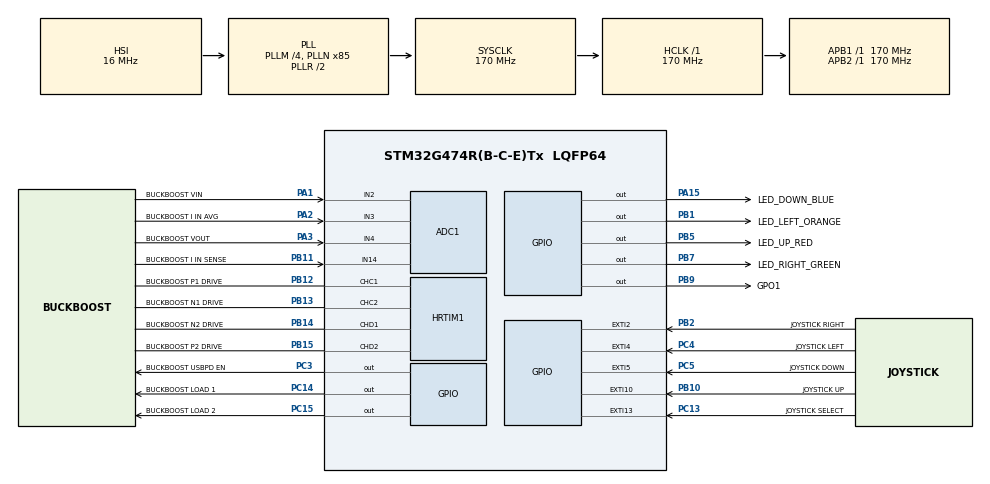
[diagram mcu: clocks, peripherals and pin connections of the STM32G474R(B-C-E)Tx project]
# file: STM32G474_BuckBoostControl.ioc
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ADC1.Channel-0\#ChannelRegularConversion=ADC_CHANNEL_4
ADC1.DMAContinuousRequests=ENABLE
ADC1.DataAlign=ADC_DATAALIGN_LEFT
ADC1.ExternalTrigConv=ADC_EXTERNALTRIG_HRTIM_TRG1
ADC1.NbrOfConversionFlag=1
ADC1.Offset-0\#ChannelRegularConversion=REF
ADC1.OffsetNumber-0\#ChannelRegularConversion=ADC_OFFSET_1
ADC1.Overrun=ADC_OVR_DATA_OVERWRITTEN
ADC1.Rank-0\#ChannelRegularConversion=1
ADC1.SamplingTime-0\#ChannelRegularConversion=ADC_SAMPLETIME_2CYCLES_5
ADC1.master=1
Dma.ADC1.0.Direction=DMA_PERIPH_TO_MEMORY
Dma.ADC1.0.EventEnable=DISABLE
Dma.ADC1.0.Instance=DMA1_Channel1
Dma.ADC1.0.MemDataAlignment=DMA_MDATAALIGN_WORD
Dma.ADC1.0.MemInc=DMA_MINC_DISABLE
Dma.ADC1.0.Mode=DMA_CIRCULAR
Dma.ADC1.0.PeriphDataAlignment=DMA_PDATAALIGN_WORD
Dma.ADC1.0.PeriphInc=DMA_PINC_DISABLE
Dma.ADC1.0.Polarity=HAL_DMAMUX_REQ_GEN_RISING
Dma.ADC1.0.Priority=DMA_PRIORITY_LOW
Dma.ADC1.0.RequestNumber=1
Dma.ADC1.0.SignalID=HAL_DMAMUX1_REQ_GEN_EXTI2
Dma.ADC1.0.SyncEnable=DISABLE
Dma.ADC1.0.SyncPolarity=HAL_DMAMUX_SYNC_NO_EVENT
Dma.ADC1.0.SyncRequestNumber=1
Dma.ADC1.0.SyncSignalID=NONE
Dma.Request0=ADC1
HRTIM1.ADCTrigger1_Source1=HRTIM_ADCTRIGGEREVENT13_TIMERC_CMP3
HRTIM1.ADCTrigger_Id1=HRTIM_ADCTRIGGER_1
HRTIM1.CompareUnit1-Output_TC1TC2=HRTIM_COMPAREUNIT_1
HRTIM1.CompareUnit1-Output_TD1TD2=HRTIM_COMPAREUNIT_1
HRTIM1.CompareUnit2-Output_TC1TC2=HRTIM_COMPAREUNIT_2
HRTIM1.CompareUnit2-Output_TD1TD2=HRTIM_COMPAREUNIT_2
HRTIM1.CompareUnit3-Output_TC1TC2=HRTIM_COMPAREUNIT_3
HRTIM1.CompareUnit3-Output_TD1TD2=HRTIM_COMPAREUNIT_3
HRTIM1.CompareValue1-Output_TC1TC2=0
HRTIM1.CompareValue1-Output_TD1TD2=0
HRTIM1.CompareValue2-Output_TC1TC2=HRTIM_PERIOD_MAX
HRTIM1.CompareValue2-Output_TD1TD2=HRTIM_PERIOD_MAX
HRTIM1.CompareValue3-Output_TC1TC2=50
HRTIM1.CompareValue3-Output_TD1TD2=50
HRTIM1.DeadTimeInsertion-Output_TC1TC2=HRTIM_TIMDEADTIMEINSERTION_ENABLED
HRTIM1.DeadTimeInsertion-Output_TD1TD2=HRTIM_TIMDEADTIMEINSERTION_ENABLED
HRTIM1.FallingValue-Output_TC1TC2=HRTIM_TC_FALLING
HRTIM1.FallingValue-Output_TD1TD2=HRTIM_TC_FALLING
HRTIM1.FaultLevel1-Output_TC1TC2=HRTIM_OUTPUTFAULTLEVEL_INACTIVE
HRTIM1.FaultLevel1-Output_TD1TD2=HRTIM_OUTPUTFAULTLEVEL_INACTIVE
HRTIM1.FaultLevel2-Output_TC1TC2=HRTIM_OUTPUTFAULTLEVEL_INACTIVE
HRTIM1.FaultLevel2-Output_TD1TD2=HRTIM_OUTPUTFAULTLEVEL_INACTIVE
HRTIM1.GreaterCMP1_TC=HRTIM_TIMERGTCMP1_EQUAL
HRTIM1.NumberADCTriggerSource1=1
HRTIM1.NumberResetSource1-Output_TC1TC2=2
HRTIM1.NumberResetSource1-Output_TD1TD2=2
HRTIM1.NumberSetSource1-Output_TC1TC2=1
HRTIM1.NumberSetSource1-Output_TD1TD2=1
HRTIM1.Periode_TC=HRTIM_PERIOD
HRTIM1.Periode_TD=HRTIM_PERIOD
HRTIM1.PreloadEnable-Output_TC1TC2=HRTIM_PRELOAD_DISABLED
HRTIM1.ResetOutput1_Source1-Output_TC1TC2=HRTIM_OUTPUTRESET_TIMCMP1
HRTIM1.ResetOutput1_Source1-Output_TD1TD2=HRTIM_OUTPUTRESET_TIMCMP1
HRTIM1.ResetOutput1_Source2-Output_TC1TC2=HRTIM_OUTPUTRESET_TIMCMP2
HRTIM1.ResetOutput1_Source2-Output_TD1TD2=HRTIM_OUTPUTRESET_TIMCMP2
HRTIM1.RisingValue-Output_TC1TC2=HRTIM_TC_RISING
HRTIM1.RisingValue-Output_TD1TD2=HRTIM_TD_RISING
HRTIM1.SetOutput1_Source1-Output_TC1TC2=HRTIM_OUTPUTSET_TIMPER
HRTIM1.SetOutput1_Source1-Output_TD1TD2=HRTIM_OUTPUTSET_TIMPER
Mcu.Family=STM32G4
Mcu.Name=STM32G474R(B-C-E)Tx
Mcu.Package=LQFP64
NVIC.DMA1_Channel1_IRQn=true\:0\:0\:false\:false\:false\:false\:false
NVIC.EXTI15_10_IRQn=true\:0\:0\:false\:false\:true\:true\:true
NVIC.EXTI2_IRQn=true\:0\:0\:false\:false\:true\:true\:true
NVIC.EXTI4_IRQn=true\:0\:0\:false\:false\:true\:true\:true
NVIC.EXTI9_5_IRQn=true\:0\:0\:false\:false\:true\:true\:true
NVIC.FMAC_IRQn=true\:0\:0\:false\:false\:true\:true\:false
NVIC.PriorityGroup=NVIC_PRIORITYGROUP_4
PA1.GPIO_Label=BUCKBOOST VIN
PA1.Mode=IN2-Single-Ended
PA1.Signal=ADC1_IN2
PA13.GPIO_Label=T_SWDIO
PA13.Mode=Trace_Asynchronous_SW
PA13.Signal=SYS_JTMS-SWDIO
PA14.GPIO_Label=T_SWCLK
PA14.Mode=Trace_Asynchronous_SW
PA14.Signal=SYS_JTCK-SWCLK
PA15.GPIO_Label=LED_DOWN_BLUE
PA15.GPIO_PuPd=GPIO_NOPULL
PA15.Signal=GPIO_Output
PA2.GPIO_Label=BUCKBOOST I IN AVG
PA2.Mode=IN3-Single-Ended
PA2.Signal=ADC1_IN3
PA3.GPIO_Label=BUCKBOOST VOUT
PA3.Mode=IN4-Single-Ended
PA3.Signal=ADC1_IN4
PB1.GPIO_Label=LED_LEFT_ORANGE
PB1.GPIO_PuPd=GPIO_NOPULL
PB1.Signal=GPIO_Output
PB10.GPIO_Label=JOYSTICK UP
PB10.GPIO_PuPd=GPIO_PULLUP
PB10.Signal=GPXTI10
PB11.GPIO_Label=BUCKBOOST I IN SENSE
PB11.Mode=IN14-Single-Ended
PB11.Signal=ADC1_IN14
PB12.GPIO_Label=BUCKBOOST P1 DRIVE
PB12.Mode=Output_TC1TC2
PB12.Signal=HRTIM1_CHC1
PB13.GPIO_Label=BUCKBOOST N1 DRIVE
PB13.Mode=Output_TC1TC2
PB13.Signal=HRTIM1_CHC2
PB14.GPIO_Label=BUCKBOOST N2 DRIVE
PB14.Mode=Output_TD1TD2
PB14.Signal=HRTIM1_CHD1
PB15.GPIO_Label=BUCKBOOST P2 DRIVE
PB15.Mode=Output_TD1TD2
PB15.Signal=HRTIM1_CHD2
PB2.GPIO_Label=JOYSTICK RIGHT
PB2.GPIO_ModeDefaultEXTI=GPIO_MODE_IT_RISING
PB2.GPIO_PuPd=GPIO_PULLUP
PB2.Signal=GPXTI2
PB3.GPIO_Label=T_SWO
PB3.Mode=Trace_Asynchronous_SW
PB3.Signal=SYS_JTDO-SWO
PB5.GPIO_Label=LED_UP_RED
PB5.GPIO_PuPd=GPIO_NOPULL
PB5.Signal=GPIO_Output
PB7.GPIO_Label=LED_RIGHT_GREEN
PB7.GPIO_PuPd=GPIO_NOPULL
PB7.Signal=GPIO_Output
PB9.GPIO_Label=GPO1
PB9.GPIO_Speed=GPIO_SPEED_FREQ_VERY_HIGH
PB9.Signal=GPIO_Output
PC10.Signal=USART3_TX
PC11.Signal=USART3_RX
PC13.GPIO_Label=JOYSTICK SELECT
PC13.GPIO_PuPd=GPIO_PULLUP
PC13.Signal=GPXTI13
PC14-OSC32_IN.GPIO_Label=BUCKBOOST LOAD 1
PC14-OSC32_IN.Signal=GPIO_Output
PC15-OSC32_OUT.GPIO_Label=BUCKBOOST LOAD 2
PC15-OSC32_OUT.Signal=GPIO_Output
PC3.GPIO_Label=BUCKBOOST USBPD EN
PC3.PinState=GPIO_PIN_SET
PC3.Signal=GPIO_Output
PC4.GPIO_Label=JOYSTICK LEFT
PC4.GPIO_PuPd=GPIO_PULLUP
PC4.Signal=GPXTI4
PC5.GPIO_Label=JOYSTICK DOWN
PC5.GPIO_PuPd=GPIO_PULLUP
PC5.Signal=GPXTI5
ProjectManager.HeapSize=0x200
ProjectManager.StackSize=0x400
ProjectManager.TargetToolchain=STM32CubeIDE
RCC.ADC12CLockSelection=RCC_ADC12CLKSOURCE_PLL
RCC.ADC12Freq_Value=34000000
RCC.ADC345Freq_Value=170000000
RCC.AHBFreq_Value=170000000
RCC.APB1Freq_Value=170000000
RCC.APB1TimFreq_Value=170000000
RCC.APB2Freq_Value=170000000
RCC.APB2TimFreq_Value=170000000
RCC.CortexFreq_Value=170000000
RCC.EXTERNAL_CLOCK_VALUE=12288000
RCC.HCLKFreq_Value=170000000
RCC.HSE_VALUE=24000000
RCC.HSI48_VALUE=48000000
RCC.HSI_VALUE=16000000
RCC.LSE_VALUE=32768
RCC.PLLM=RCC_PLLM_DIV4
RCC.PLLN=85
RCC.PLLP=RCC_PLLP_DIV10
RCC.SYSCLKFreq_VALUE=170000000
RCC.SYSCLKSource=RCC_SYSCLKSOURCE_PLLCLK
RCC.USBFreq_Value=170000000
RCC.VCOOutputFreq_Value=340000000
VP_FMAC_VS_FMAC.Mode=FMAC_Activate
VP_RTC_VS_RTC_Activate.Mode=RTC_Enabled
VP_SYS_VS_DBSignals.Mode=DisableDeadBatterySignals
board=B-G474E-DPOW1

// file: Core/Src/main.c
/* USER CODE BEGIN Header */
/**
 ******************************************************************************
 * @file           : main.c
 * @brief          : Main program body
 ******************************************************************************
 * @attention
 *
 * <h2><center>&copy; Copyright (c) 2020 STMicroelectronics.
 * All rights reserved.</center></h2>
 *
 * This software component is licensed by ST under BSD 3-Clause license,
 * the "License"; You may not use this file except in compliance with the
 * License. You may obtain a copy of the License at:
 *                        opensource.org/licenses/BSD-3-Clause
 *
 ******************************************************************************
 */
/* USER CODE END Header */
#include "main.h"

/* USER CODE BEGIN Includes */
#include "stm32g4xx_it.h"
/* USER CODE END Includes */

ADC_HandleTypeDef hadc1;
DMA_HandleTypeDef hdma_adc1;

FMAC_HandleTypeDef hfmac;

HRTIM_HandleTypeDef hhrtim1;

RTC_HandleTypeDef hrtc;

/* USER CODE BEGIN PV */
/* FMAC configuration structure */
FMAC_FilterConfigTypeDef sFmacConfig;
DMA_HandleTypeDef hdma_fmac_read;

/* Array of filter coefficients A (feedback coefficients) in Q1.15 format */
static int16_t aFilterCoeffA[COEFF_VECTOR_A_SIZE] = {A1,A2,A3};

/* Array of filter coefficients B (feed-forward taps) in Q1.15 format */
static int16_t aFilterCoeffB[COEFF_VECTOR_B_SIZE] = {(int16_t)-B0,(int16_t)-B1,(int16_t)-B2,(int16_t)-B3};

/* Array of output data to preload in Q1.15 format */
static int16_t aOutputDataToPreload[COEFF_VECTOR_A_SIZE] = {0x0000, 0x0000, 0x0000};

/* Expected number of calculated samples */
uint16_t ExpectedCalculatedOutputSize = (uint16_t) 1;
uint32_t *Fmac_Wdata;
int16_t Fmac_output;
int16_t bTransient = 0;
//extern G4_Demo_t Demo;
/* USER CODE END PV */

void SystemClock_Config(void);
static void MX_GPIO_Init(void);
static void MX_DMA_Init(void);
static void MX_RTC_Init(void);
static void MX_ADC1_Init(void);
static void MX_HRTIM1_Init(void);
static void MX_FMAC_Init(void);

int main(void)
{

	/* MCU Configuration--------------------------------------------------------*/

	/* Reset of all peripherals, Initializes the Flash interface and the Systick. */
	HAL_Init();

	/* Configure the system clock */
	SystemClock_Config();

	/* Initialize all configured peripherals */
	MX_GPIO_Init();
	MX_DMA_Init();
	MX_RTC_Init();
	MX_ADC1_Init();
	MX_HRTIM1_Init();
	MX_FMAC_Init();
	/* USER CODE BEGIN 2 */

	/* Perform an ADC automatic self-calibration and enable ADC */
	HAL_ADCEx_Calibration_Start(&hadc1, ADC_SINGLE_ENDED);

#ifdef RUN_OPEN_LOOP
	/* Do not start ADC and DMA, instead set fixed duty cycle */
	__HAL_HRTIM_SETCOMPARE( &hhrtim1, HRTIM_TIMERINDEX_TIMER_C, HRTIM_COMPAREUNIT_1, 10000);
#else
	/* Start ADC and DMA */
	Fmac_Wdata = (uint32_t *) FMAC_WDATA;
	HAL_ADC_Start_DMA(&hadc1,Fmac_Wdata,1);
#endif

#ifdef BUCK_CONFIG
	/* Start the PWMs */
	HAL_HRTIM_WaveformOutputStart(&hhrtim1, HRTIM_OUTPUT_TC1 | HRTIM_OUTPUT_TC2);
	HAL_HRTIM_WaveformCounterStart(&hhrtim1, HRTIM_TIMERID_TIMER_C);

	/* Enable T6 for Buck only mode usage */
	HAL_GPIO_WritePin(BUCKBOOST_P2_DRIVE_GPIO_Port, BUCKBOOST_P2_DRIVE_Pin, GPIO_PIN_SET);
#endif

#ifdef BOOST_CONFIG
	/* Start the PWMs */
	HAL_HRTIM_WaveformOutputStart(&hhrtim1, HRTIM_OUTPUT_TD1 | HRTIM_OUTPUT_TD2);
	HAL_HRTIM_WaveformCounterStart(&hhrtim1, HRTIM_TIMERID_TIMER_D);

	/* Enable T6 for Buck only mode usage */
	HAL_GPIO_WritePin(BUCKBOOST_P1_DRIVE_GPIO_Port, BUCKBOOST_P1_DRIVE_Pin, GPIO_PIN_SET);
#endif

	HAL_GPIO_WritePin(LED_RIGHT_GREEN_GPIO_Port, LED_RIGHT_GREEN_Pin, GPIO_PIN_SET);

	/* USER CODE END 2 */

	/* Infinite loop */
	while (1)
	{

	}
}

void SystemClock_Config(void)
{
	RCC_OscInitTypeDef RCC_OscInitStruct = {0};
	RCC_ClkInitTypeDef RCC_ClkInitStruct = {0};
	RCC_PeriphCLKInitTypeDef PeriphClkInit = {0};

	/** Configure the main internal regulator output voltage
	 */
	HAL_PWREx_ControlVoltageScaling(PWR_REGULATOR_VOLTAGE_SCALE1_BOOST);
	/** Initializes the RCC Oscillators according to the specified parameters
	 * in the RCC_OscInitTypeDef structure.
	 */
	RCC_OscInitStruct.OscillatorType = RCC_OSCILLATORTYPE_HSI|RCC_OSCILLATORTYPE_LSI;
	RCC_OscInitStruct.HSIState = RCC_HSI_ON;
	RCC_OscInitStruct.HSICalibrationValue = RCC_HSICALIBRATION_DEFAULT;
	RCC_OscInitStruct.LSIState = RCC_LSI_ON;
	RCC_OscInitStruct.PLL.PLLState = RCC_PLL_ON;
	RCC_OscInitStruct.PLL.PLLSource = RCC_PLLSOURCE_HSI;
	RCC_OscInitStruct.PLL.PLLM = RCC_PLLM_DIV4;
	RCC_OscInitStruct.PLL.PLLN = 85;
	RCC_OscInitStruct.PLL.PLLP = RCC_PLLP_DIV10;
	RCC_OscInitStruct.PLL.PLLQ = RCC_PLLQ_DIV2;
	RCC_OscInitStruct.PLL.PLLR = RCC_PLLR_DIV2;
	if (HAL_RCC_OscConfig(&RCC_OscInitStruct) != HAL_OK)
	{
		Error_Handler();
	}
	/** Initializes the CPU, AHB and APB buses clocks
	 */
	RCC_ClkInitStruct.ClockType = RCC_CLOCKTYPE_HCLK|RCC_CLOCKTYPE_SYSCLK
			|RCC_CLOCKTYPE_PCLK1|RCC_CLOCKTYPE_PCLK2;
	RCC_ClkInitStruct.SYSCLKSource = RCC_SYSCLKSOURCE_PLLCLK;
	RCC_ClkInitStruct.AHBCLKDivider = RCC_SYSCLK_DIV1;
	RCC_ClkInitStruct.APB1CLKDivider = RCC_HCLK_DIV1;
	RCC_ClkInitStruct.APB2CLKDivider = RCC_HCLK_DIV1;

	if (HAL_RCC_ClockConfig(&RCC_ClkInitStruct, FLASH_LATENCY_4) != HAL_OK)
	{
		Error_Handler();
	}
	/** Initializes the peripherals clocks
	 */
	PeriphClkInit.PeriphClockSelection = RCC_PERIPHCLK_RTC|RCC_PERIPHCLK_ADC12;
	PeriphClkInit.Adc12ClockSelection = RCC_ADC12CLKSOURCE_PLL;
	PeriphClkInit.RTCClockSelection = RCC_RTCCLKSOURCE_LSI;
	if (HAL_RCCEx_PeriphCLKConfig(&PeriphClkInit) != HAL_OK)
	{
		Error_Handler();
	}
}

static void MX_ADC1_Init(void)
{

	ADC_MultiModeTypeDef multimode = {0};
	ADC_ChannelConfTypeDef sConfig = {0};

	/** Common config
	 */
	hadc1.Instance = ADC1;
	hadc1.Init.ClockPrescaler = ADC_CLOCK_SYNC_PCLK_DIV4;
	hadc1.Init.Resolution = ADC_RESOLUTION_12B;
	hadc1.Init.DataAlign = ADC_DATAALIGN_LEFT;
	hadc1.Init.GainCompensation = 0;
	hadc1.Init.ScanConvMode = ADC_SCAN_DISABLE;
	hadc1.Init.EOCSelection = ADC_EOC_SINGLE_CONV;
	hadc1.Init.LowPowerAutoWait = DISABLE;
	hadc1.Init.ContinuousConvMode = DISABLE;
	hadc1.Init.NbrOfConversion = 1;
	hadc1.Init.DiscontinuousConvMode = DISABLE;
	hadc1.Init.ExternalTrigConv = ADC_EXTERNALTRIG_HRTIM_TRG1;
	hadc1.Init.ExternalTrigConvEdge = ADC_EXTERNALTRIGCONVEDGE_RISING;
	hadc1.Init.DMAContinuousRequests = ENABLE;
	hadc1.Init.Overrun = ADC_OVR_DATA_OVERWRITTEN;
	hadc1.Init.OversamplingMode = DISABLE;
	if (HAL_ADC_Init(&hadc1) != HAL_OK)
	{
		Error_Handler();
	}
	/** Configure the ADC multi-mode
	 */
	multimode.Mode = ADC_MODE_INDEPENDENT;
	if (HAL_ADCEx_MultiModeConfigChannel(&hadc1, &multimode) != HAL_OK)
	{
		Error_Handler();
	}
	/** Configure Regular Channel
	 */
	sConfig.Channel = ADC_CHANNEL_4;
	sConfig.Rank = ADC_REGULAR_RANK_1;
	sConfig.SamplingTime = ADC_SAMPLETIME_2CYCLES_5;
	sConfig.SingleDiff = ADC_SINGLE_ENDED;
	sConfig.OffsetNumber = ADC_OFFSET_1;
	sConfig.Offset = REF;
	sConfig.OffsetSign = ADC_OFFSET_SIGN_NEGATIVE;
	sConfig.OffsetSaturation = DISABLE;
	if (HAL_ADC_ConfigChannel(&hadc1, &sConfig) != HAL_OK)
	{
		Error_Handler();
	}

}

static void MX_FMAC_Init(void)
{

	hfmac.Instance = FMAC;
	if (HAL_FMAC_Init(&hfmac) != HAL_OK)
	{
		Error_Handler();
	}
	/* USER CODE BEGIN FMAC_Init 2 */

	/*## Configure the FMAC peripheral ###########################################*/
	sFmacConfig.InputBaseAddress  = INPUT_BUFFER_BASE;
	sFmacConfig.InputBufferSize   = INPUT_BUFFER_SIZE;
	sFmacConfig.InputThreshold    = INPUT_THRESHOLD;
	sFmacConfig.CoeffBaseAddress  = COEFFICIENT_BUFFER_BASE;
	sFmacConfig.CoeffBufferSize   = COEFFICIENT_BUFFER_SIZE;
	sFmacConfig.OutputBaseAddress = OUTPUT_BUFFER_BASE;
	sFmacConfig.OutputBufferSize  = OUTPUT_BUFFER_SIZE;
	sFmacConfig.OutputThreshold   = OUTPUT_THRESHOLD;
	sFmacConfig.pCoeffA           = aFilterCoeffA;
	sFmacConfig.CoeffASize        = COEFF_VECTOR_A_SIZE;
	sFmacConfig.pCoeffB           = aFilterCoeffB;
	sFmacConfig.CoeffBSize        = COEFF_VECTOR_B_SIZE;
	sFmacConfig.Filter            = FMAC_FUNC_IIR_DIRECT_FORM_1;
	sFmacConfig.InputAccess       = FMAC_BUFFER_ACCESS_NONE;
	sFmacConfig.OutputAccess      = FMAC_BUFFER_ACCESS_IT;
	sFmacConfig.Clip              = FMAC_CLIP_ENABLED;
	sFmacConfig.P                 = COEFF_VECTOR_B_SIZE;
	sFmacConfig.Q                 = COEFF_VECTOR_A_SIZE;
	sFmacConfig.R                 = post_shift;

	if (HAL_FMAC_FilterConfig(&hfmac, &sFmacConfig) != HAL_OK)
	{
		/* Configuration Error */
		Error_Handler();
	}

	/*## Preload the input and output buffers ####################################*/
	if (HAL_FMAC_FilterPreload(&hfmac, NULL, INPUT_BUFFER_SIZE,
			aOutputDataToPreload, COEFF_VECTOR_A_SIZE) != HAL_OK)
	{
		/* Configuration Error */
		Error_Handler();
	}
	/* Start calculation of IIR filter */
	if (HAL_FMAC_FilterStart(&hfmac,&Fmac_output,&ExpectedCalculatedOutputSize) != HAL_OK)
	{
		/* Processing Error */
		Error_Handler();
	}

	/* USER CODE END FMAC_Init 2 */

}

static void MX_HRTIM1_Init(void)
{

	HRTIM_ADCTriggerCfgTypeDef pADCTriggerCfg = {0};
	HRTIM_TimeBaseCfgTypeDef pTimeBaseCfg = {0};
	HRTIM_TimerCtlTypeDef pTimerCtl = {0};
	HRTIM_TimerCfgTypeDef pTimerCfg = {0};
	HRTIM_CompareCfgTypeDef pCompareCfg = {0};
	HRTIM_DeadTimeCfgTypeDef pDeadTimeCfg = {0};
	HRTIM_OutputCfgTypeDef pOutputCfg = {0};

	hhrtim1.Instance = HRTIM1;
	hhrtim1.Init.HRTIMInterruptResquests = HRTIM_IT_NONE;
	hhrtim1.Init.SyncOptions = HRTIM_SYNCOPTION_NONE;
	if (HAL_HRTIM_Init(&hhrtim1) != HAL_OK)
	{
		Error_Handler();
	}
	if (HAL_HRTIM_DLLCalibrationStart(&hhrtim1, HRTIM_CALIBRATIONRATE_3) != HAL_OK)
	{
		Error_Handler();
	}
	if (HAL_HRTIM_PollForDLLCalibration(&hhrtim1, 10) != HAL_OK)
	{
		Error_Handler();
	}
	pADCTriggerCfg.UpdateSource = HRTIM_ADCTRIGGERUPDATE_TIMER_C;
	pADCTriggerCfg.Trigger = HRTIM_ADCTRIGGEREVENT13_TIMERC_CMP3;
	if (HAL_HRTIM_ADCTriggerConfig(&hhrtim1, HRTIM_ADCTRIGGER_1, &pADCTriggerCfg) != HAL_OK)
	{
		Error_Handler();
	}
	if (HAL_HRTIM_ADCPostScalerConfig(&hhrtim1, HRTIM_ADCTRIGGER_1, 0x0) != HAL_OK)
	{
		Error_Handler();
	}
	pTimeBaseCfg.Period = HRTIM_PERIOD;
	pTimeBaseCfg.RepetitionCounter = 0x00;
	pTimeBaseCfg.PrescalerRatio = HRTIM_PRESCALERRATIO_MUL32;
	pTimeBaseCfg.Mode = HRTIM_MODE_CONTINUOUS;
	if (HAL_HRTIM_TimeBaseConfig(&hhrtim1, HRTIM_TIMERINDEX_TIMER_C, &pTimeBaseCfg) != HAL_OK)
	{
		Error_Handler();
	}
	pTimerCtl.UpDownMode = HRTIM_TIMERUPDOWNMODE_UP;
	pTimerCtl.TrigHalf = HRTIM_TIMERTRIGHALF_DISABLED;
	pTimerCtl.GreaterCMP3 = HRTIM_TIMERGTCMP3_EQUAL;
	pTimerCtl.GreaterCMP1 = HRTIM_TIMERGTCMP1_EQUAL;
	pTimerCtl.DualChannelDacEnable = HRTIM_TIMER_DCDE_DISABLED;
	if (HAL_HRTIM_WaveformTimerControl(&hhrtim1, HRTIM_TIMERINDEX_TIMER_C, &pTimerCtl) != HAL_OK)
	{
		Error_Handler();
	}
	pTimerCfg.InterruptRequests = HRTIM_TIM_IT_NONE;
	pTimerCfg.DMARequests = HRTIM_TIM_DMA_NONE;
	pTimerCfg.DMASrcAddress = 0x0000;
	pTimerCfg.DMADstAddress = 0x0000;
	pTimerCfg.DMASize = 0x1;
	pTimerCfg.HalfModeEnable = HRTIM_HALFMODE_DISABLED;
	pTimerCfg.InterleavedMode = HRTIM_INTERLEAVED_MODE_DISABLED;
	pTimerCfg.StartOnSync = HRTIM_SYNCSTART_DISABLED;
	pTimerCfg.ResetOnSync = HRTIM_SYNCRESET_DISABLED;
	pTimerCfg.DACSynchro = HRTIM_DACSYNC_NONE;
	pTimerCfg.PreloadEnable = HRTIM_PRELOAD_DISABLED;
	pTimerCfg.UpdateGating = HRTIM_UPDATEGATING_INDEPENDENT;
	pTimerCfg.BurstMode = HRTIM_TIMERBURSTMODE_MAINTAINCLOCK;
	pTimerCfg.RepetitionUpdate = HRTIM_UPDATEONREPETITION_DISABLED;
	pTimerCfg.PushPull = HRTIM_TIMPUSHPULLMODE_DISABLED;
	pTimerCfg.FaultEnable = HRTIM_TIMFAULTENABLE_NONE;
	pTimerCfg.FaultLock = HRTIM_TIMFAULTLOCK_READWRITE;
	pTimerCfg.DeadTimeInsertion = HRTIM_TIMDEADTIMEINSERTION_ENABLED;
	pTimerCfg.DelayedProtectionMode = HRTIM_TIMER_A_B_C_DELAYEDPROTECTION_DISABLED;
	pTimerCfg.UpdateTrigger = HRTIM_TIMUPDATETRIGGER_NONE;
	pTimerCfg.ResetTrigger = HRTIM_TIMRESETTRIGGER_NONE;
	pTimerCfg.ResetUpdate = HRTIM_TIMUPDATEONRESET_DISABLED;
	pTimerCfg.ReSyncUpdate = HRTIM_TIMERESYNC_UPDATE_UNCONDITIONAL;
	if (HAL_HRTIM_WaveformTimerConfig(&hhrtim1, HRTIM_TIMERINDEX_TIMER_C, &pTimerCfg) != HAL_OK)
	{
		Error_Handler();
	}
	pTimerCfg.DMASrcAddress = 0x0000;
	pTimerCfg.DMADstAddress = 0x0000;
	pTimerCfg.DMASize = 0x1;
	pTimerCfg.DelayedProtectionMode = HRTIM_TIMER_D_E_DELAYEDPROTECTION_DISABLED;
	if (HAL_HRTIM_WaveformTimerConfig(&hhrtim1, HRTIM_TIMERINDEX_TIMER_D, &pTimerCfg) != HAL_OK)
	{
		Error_Handler();
	}
	pCompareCfg.CompareValue = 0;
	if (HAL_HRTIM_WaveformCompareConfig(&hhrtim1, HRTIM_TIMERINDEX_TIMER_C, HRTIM_COMPAREUNIT_1, &pCompareCfg) != HAL_OK)
	{
		Error_Handler();
	}
	pCompareCfg.CompareValue = HRTIM_PERIOD_MAX;
	pCompareCfg.AutoDelayedMode = HRTIM_AUTODELAYEDMODE_REGULAR;
	pCompareCfg.AutoDelayedTimeout = 0x0000;

	if (HAL_HRTIM_WaveformCompareConfig(&hhrtim1, HRTIM_TIMERINDEX_TIMER_C, HRTIM_COMPAREUNIT_2, &pCompareCfg) != HAL_OK)
	{
		Error_Handler();
	}
	pCompareCfg.CompareValue = 50;
	if (HAL_HRTIM_WaveformCompareConfig(&hhrtim1, HRTIM_TIMERINDEX_TIMER_C, HRTIM_COMPAREUNIT_3, &pCompareCfg) != HAL_OK)
	{
		Error_Handler();
	}
	pDeadTimeCfg.Prescaler = HRTIM_TIMDEADTIME_PRESCALERRATIO_MUL8;
	pDeadTimeCfg.RisingValue = HRTIM_TC_RISING;
	pDeadTimeCfg.RisingSign = HRTIM_TIMDEADTIME_RISINGSIGN_POSITIVE;
	pDeadTimeCfg.RisingLock = HRTIM_TIMDEADTIME_RISINGLOCK_WRITE;
	pDeadTimeCfg.RisingSignLock = HRTIM_TIMDEADTIME_RISINGSIGNLOCK_WRITE;
	pDeadTimeCfg.FallingValue = HRTIM_TC_FALLING;
	pDeadTimeCfg.FallingSign = HRTIM_TIMDEADTIME_FALLINGSIGN_POSITIVE;
	pDeadTimeCfg.FallingLock = HRTIM_TIMDEADTIME_FALLINGLOCK_WRITE;
	pDeadTimeCfg.FallingSignLock = HRTIM_TIMDEADTIME_FALLINGSIGNLOCK_WRITE;
	if (HAL_HRTIM_DeadTimeConfig(&hhrtim1, HRTIM_TIMERINDEX_TIMER_C, &pDeadTimeCfg) != HAL_OK)
	{
		Error_Handler();
	}
	pDeadTimeCfg.RisingValue = HRTIM_TD_RISING;
	if (HAL_HRTIM_DeadTimeConfig(&hhrtim1, HRTIM_TIMERINDEX_TIMER_D, &pDeadTimeCfg) != HAL_OK)
	{
		Error_Handler();
	}
	pOutputCfg.Polarity = HRTIM_OUTPUTPOLARITY_HIGH;
	pOutputCfg.SetSource = HRTIM_OUTPUTSET_TIMPER;
	pOutputCfg.ResetSource = HRTIM_OUTPUTRESET_TIMCMP1|HRTIM_OUTPUTRESET_TIMCMP2;
	pOutputCfg.IdleMode = HRTIM_OUTPUTIDLEMODE_NONE;
	pOutputCfg.IdleLevel = HRTIM_OUTPUTIDLELEVEL_INACTIVE;
	pOutputCfg.FaultLevel = HRTIM_OUTPUTFAULTLEVEL_INACTIVE;
	pOutputCfg.ChopperModeEnable = HRTIM_OUTPUTCHOPPERMODE_DISABLED;
	pOutputCfg.BurstModeEntryDelayed = HRTIM_OUTPUTBURSTMODEENTRY_REGULAR;
	if (HAL_HRTIM_WaveformOutputConfig(&hhrtim1, HRTIM_TIMERINDEX_TIMER_C, HRTIM_OUTPUT_TC1, &pOutputCfg) != HAL_OK)
	{
		Error_Handler();
	}
	if (HAL_HRTIM_WaveformOutputConfig(&hhrtim1, HRTIM_TIMERINDEX_TIMER_D, HRTIM_OUTPUT_TD1, &pOutputCfg) != HAL_OK)
	{
		Error_Handler();
	}
	pOutputCfg.SetSource = HRTIM_OUTPUTSET_NONE;
	pOutputCfg.ResetSource = HRTIM_OUTPUTRESET_NONE;
	if (HAL_HRTIM_WaveformOutputConfig(&hhrtim1, HRTIM_TIMERINDEX_TIMER_C, HRTIM_OUTPUT_TC2, &pOutputCfg) != HAL_OK)
	{
		Error_Handler();
	}
	if (HAL_HRTIM_WaveformOutputConfig(&hhrtim1, HRTIM_TIMERINDEX_TIMER_D, HRTIM_OUTPUT_TD2, &pOutputCfg) != HAL_OK)
	{
		Error_Handler();
	}
	if (HAL_HRTIM_TimeBaseConfig(&hhrtim1, HRTIM_TIMERINDEX_TIMER_D, &pTimeBaseCfg) != HAL_OK)
	{
		Error_Handler();
	}
	if (HAL_HRTIM_WaveformTimerControl(&hhrtim1, HRTIM_TIMERINDEX_TIMER_D, &pTimerCtl) != HAL_OK)
	{
		Error_Handler();
	}
	pCompareCfg.CompareValue = 0;
	if (HAL_HRTIM_WaveformCompareConfig(&hhrtim1, HRTIM_TIMERINDEX_TIMER_D, HRTIM_COMPAREUNIT_1, &pCompareCfg) != HAL_OK)
	{
		Error_Handler();
	}
	pCompareCfg.CompareValue = HRTIM_PERIOD_MAX;
	pCompareCfg.AutoDelayedTimeout = 0x0000;

	if (HAL_HRTIM_WaveformCompareConfig(&hhrtim1, HRTIM_TIMERINDEX_TIMER_D, HRTIM_COMPAREUNIT_2, &pCompareCfg) != HAL_OK)
	{
		Error_Handler();
	}
	pCompareCfg.CompareValue = 50;
	if (HAL_HRTIM_WaveformCompareConfig(&hhrtim1, HRTIM_TIMERINDEX_TIMER_D, HRTIM_COMPAREUNIT_3, &pCompareCfg) != HAL_OK)
	{
		Error_Handler();
	}
	HAL_HRTIM_MspPostInit(&hhrtim1);

}

static void MX_RTC_Init(void)
{

	/** Initialize RTC Only
	 */
	hrtc.Instance = RTC;
	hrtc.Init.HourFormat = RTC_HOURFORMAT_24;
	hrtc.Init.AsynchPrediv = 127;
	hrtc.Init.SynchPrediv = 255;
	hrtc.Init.OutPut = RTC_OUTPUT_DISABLE;
	hrtc.Init.OutPutRemap = RTC_OUTPUT_REMAP_NONE;
	hrtc.Init.OutPutPolarity = RTC_OUTPUT_POLARITY_HIGH;
	hrtc.Init.OutPutType = RTC_OUTPUT_TYPE_OPENDRAIN;
	hrtc.Init.OutPutPullUp = RTC_OUTPUT_PULLUP_NONE;
	if (HAL_RTC_Init(&hrtc) != HAL_OK)
	{
		Error_Handler();
	}

}

static void MX_DMA_Init(void)
{

	/* DMA controller clock enable */
	__HAL_RCC_DMAMUX1_CLK_ENABLE();
	__HAL_RCC_DMA1_CLK_ENABLE();

	/* DMA interrupt init */
	/* DMA1_Channel1_IRQn interrupt configuration */
	HAL_NVIC_SetPriority(DMA1_Channel1_IRQn, 0, 0);
	HAL_NVIC_EnableIRQ(DMA1_Channel1_IRQn);

}

static void MX_GPIO_Init(void)
{
	GPIO_InitTypeDef GPIO_InitStruct = {0};

	/* GPIO Ports Clock Enable */
	__HAL_RCC_GPIOC_CLK_ENABLE();
	__HAL_RCC_GPIOA_CLK_ENABLE();
	__HAL_RCC_GPIOB_CLK_ENABLE();

	/*Configure GPIO pin Output Level */
	HAL_GPIO_WritePin(GPIOC, BUCKBOOST_LOAD_1_Pin|BUCKBOOST_LOAD_2_Pin, GPIO_PIN_RESET);

	/*Configure GPIO pin Output Level */
	HAL_GPIO_WritePin(BUCKBOOST_USBPD_EN_GPIO_Port, BUCKBOOST_USBPD_EN_Pin, GPIO_PIN_SET);

	/*Configure GPIO pin Output Level */
	HAL_GPIO_WritePin(GPIOB, LED_LEFT_ORANGE_Pin|LED_UP_RED_Pin|LED_RIGHT_GREEN_Pin|GPO1_Pin, GPIO_PIN_RESET);

	/*Configure GPIO pin Output Level */
	HAL_GPIO_WritePin(LED_DOWN_BLUE_GPIO_Port, LED_DOWN_BLUE_Pin, GPIO_PIN_RESET);

	/*Configure GPIO pins : JOYSTICK_SELECT_Pin JOYSTICK_LEFT_Pin JOYSTICK_DOWN_Pin */
	GPIO_InitStruct.Pin = JOYSTICK_SELECT_Pin|JOYSTICK_LEFT_Pin|JOYSTICK_DOWN_Pin;
	GPIO_InitStruct.Mode = GPIO_MODE_IT_RISING;
	GPIO_InitStruct.Pull = GPIO_PULLUP;
	HAL_GPIO_Init(GPIOC, &GPIO_InitStruct);

	/*Configure GPIO pins : BUCKBOOST_LOAD_1_Pin BUCKBOOST_LOAD_2_Pin BUCKBOOST_USBPD_EN_Pin */
	GPIO_InitStruct.Pin = BUCKBOOST_LOAD_1_Pin|BUCKBOOST_LOAD_2_Pin|BUCKBOOST_USBPD_EN_Pin;
	GPIO_InitStruct.Mode = GPIO_MODE_OUTPUT_PP;
	GPIO_InitStruct.Pull = GPIO_NOPULL;
	GPIO_InitStruct.Speed = GPIO_SPEED_FREQ_LOW;
	HAL_GPIO_Init(GPIOC, &GPIO_InitStruct);

	/*Configure GPIO pins : LED_LEFT_ORANGE_Pin LED_UP_RED_Pin LED_RIGHT_GREEN_Pin */
	GPIO_InitStruct.Pin = LED_LEFT_ORANGE_Pin|LED_UP_RED_Pin|LED_RIGHT_GREEN_Pin;
	GPIO_InitStruct.Mode = GPIO_MODE_OUTPUT_PP;
	GPIO_InitStruct.Pull = GPIO_NOPULL;
	GPIO_InitStruct.Speed = GPIO_SPEED_FREQ_LOW;
	HAL_GPIO_Init(GPIOB, &GPIO_InitStruct);

	/*Configure GPIO pins : JOYSTICK_RIGHT_Pin JOYSTICK_UP_Pin */
	GPIO_InitStruct.Pin = JOYSTICK_RIGHT_Pin|JOYSTICK_UP_Pin;
	GPIO_InitStruct.Mode = GPIO_MODE_IT_RISING;
	GPIO_InitStruct.Pull = GPIO_PULLUP;
	HAL_GPIO_Init(GPIOB, &GPIO_InitStruct);

	/*Configure GPIO pin : LED_DOWN_BLUE_Pin */
	GPIO_InitStruct.Pin = LED_DOWN_BLUE_Pin;
	GPIO_InitStruct.Mode = GPIO_MODE_OUTPUT_PP;
	GPIO_InitStruct.Pull = GPIO_NOPULL;
	GPIO_InitStruct.Speed = GPIO_SPEED_FREQ_LOW;
	HAL_GPIO_Init(LED_DOWN_BLUE_GPIO_Port, &GPIO_InitStruct);

	/*Configure GPIO pins : PC10 PC11 */
	GPIO_InitStruct.Pin = GPIO_PIN_10|GPIO_PIN_11;
	GPIO_InitStruct.Mode = GPIO_MODE_AF_PP;
	GPIO_InitStruct.Pull = GPIO_NOPULL;
	GPIO_InitStruct.Speed = GPIO_SPEED_FREQ_LOW;
	GPIO_InitStruct.Alternate = GPIO_AF7_USART3;
	HAL_GPIO_Init(GPIOC, &GPIO_InitStruct);

	/*Configure GPIO pin : GPO1_Pin */
	GPIO_InitStruct.Pin = GPO1_Pin;
	GPIO_InitStruct.Mode = GPIO_MODE_OUTPUT_PP;
	GPIO_InitStruct.Pull = GPIO_NOPULL;
	GPIO_InitStruct.Speed = GPIO_SPEED_FREQ_VERY_HIGH;
	HAL_GPIO_Init(GPO1_GPIO_Port, &GPIO_InitStruct);

	/* EXTI interrupt init*/
	HAL_NVIC_SetPriority(EXTI2_IRQn, 0, 0);
	HAL_NVIC_EnableIRQ(EXTI2_IRQn);

	HAL_NVIC_SetPriority(EXTI4_IRQn, 0, 0);
	HAL_NVIC_EnableIRQ(EXTI4_IRQn);

	HAL_NVIC_SetPriority(EXTI9_5_IRQn, 0, 0);
	HAL_NVIC_EnableIRQ(EXTI9_5_IRQn);

	HAL_NVIC_SetPriority(EXTI15_10_IRQn, 0, 0);
	HAL_NVIC_EnableIRQ(EXTI15_10_IRQn);

}

/* USER CODE BEGIN 4 */
void HAL_GPIO_EXTI_Callback(uint16_t GPIO_Pin)
{

	/* JOYSTICK UP enables load transients load */
	if (GPIO_Pin == JOYSTICK_UP_Pin)
	{
		HAL_GPIO_TogglePin(LED_UP_RED_GPIO_Port, LED_UP_RED_Pin);
	}

	/* JOYSTICK DOWN disables load transients load */
	if (GPIO_Pin == JOYSTICK_DOWN_Pin)
	{
		HAL_GPIO_TogglePin(LED_DOWN_BLUE_GPIO_Port, LED_DOWN_BLUE_Pin);
	}

	/* JOYSTICK RIGHT increases the activated Resistors load */
	if (GPIO_Pin == JOYSTICK_RIGHT_Pin)
	{
		HAL_GPIO_TogglePin(LED_RIGHT_GREEN_GPIO_Port, LED_RIGHT_GREEN_Pin);
	}

	/* JOYSTICK LEFT decreases the activated Resistors load */
	if (GPIO_Pin == JOYSTICK_LEFT_Pin)
	{
		HAL_GPIO_TogglePin(LED_LEFT_ORANGE_GPIO_Port, LED_LEFT_ORANGE_Pin);
	}

}
/* USER CODE END 4 */

void Error_Handler(void)
{
}

/************************ (C) COPYRIGHT STMicroelectronics *****END OF FILE****/
